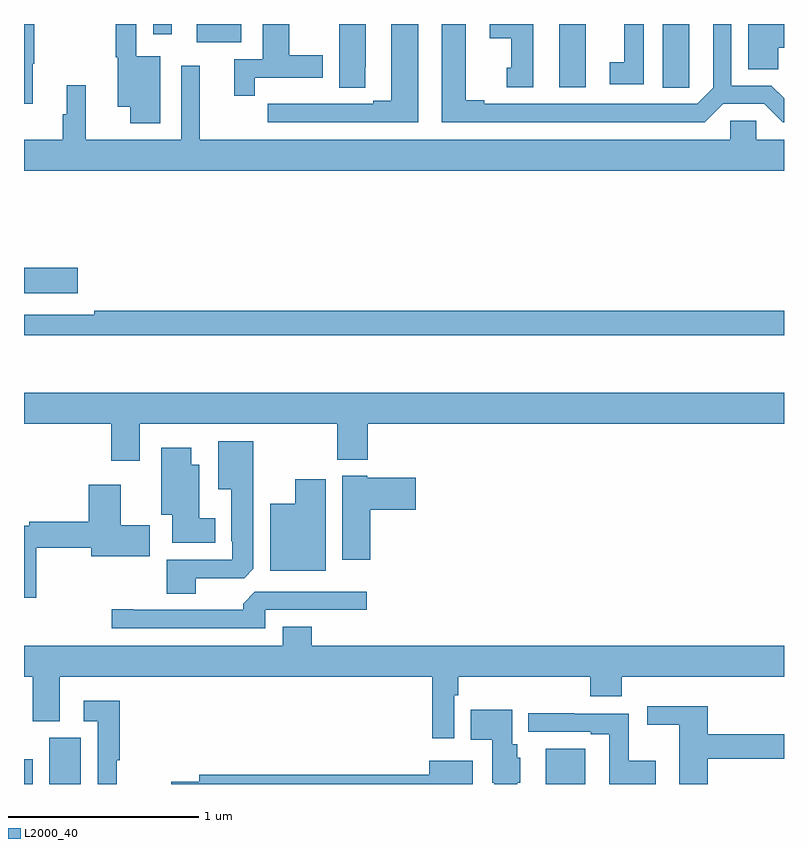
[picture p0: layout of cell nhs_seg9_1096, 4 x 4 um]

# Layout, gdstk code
import gdstk
lib = gdstk.Library(unit=1e-6, precision=1e-09)
def R(c, l, rs):  # rectangles x0, y0, x1, y1
    for r in rs: c.add(gdstk.rectangle(r[:2], r[2:], *l))
def P(c, l, *ps):  # polygons
    for p in ps: c.add(gdstk.Polygon(p, *l))
L2000_40 = (2000, 40)

nhs_seg9_1096 = lib.new_cell('nhs_seg9_1096')
R(nhs_seg9_1096, L2000_40, [(171,1218.5,171.046,1218.631), (171.134,1218.5,171.298,1218.744), (173.747,1218.5,173.953,1218.685), (171,1221.083,171.283,1221.218), (173.816,1222.167,173.956,1222.5), (171.908,1222.403,172.144,1222.5), (171.681,1222.446,171.778,1222.5)])
P(nhs_seg9_1096, L2000_40, [(171.718,1222.33),(171.591,1222.33),(171.591,1222.5),(171.483,1222.5),(171.483,1222.326),(171.494,1222.326),(171.494,1222.064),(171.56,1222.064),(171.56,1221.978),(171.718,1221.978)],
  [(172.797,1222.273),(172.798,1222.273),(172.798,1222.5),(172.658,1222.5),(172.658,1222.165),(172.797,1222.165)],
  [(171.046,1222.292),(171.054,1222.292),(171.054,1222.5),(171,1222.5),(171,1222.08),(171.046,1222.08)],
  [(174.501,1222.273),(174.502,1222.273),(174.502,1222.5),(174.362,1222.5),(174.362,1222.165),(174.501,1222.165)],
  [(173.074,1222.5),(172.934,1222.5),(172.934,1222.095),(172.838,1222.095),(172.838,1222.08),(172.562,1222.08),(172.562,1222.081),(172.396,1222.081),(172.396,1222.08),(172.284,1222.08),(172.284,1221.984),(173.074,1221.984)],
  [(174.679,1222.08),(174.897,1222.08),(174.993,1221.984),(175,1221.984),(175,1222.109),(174.933,1222.176),(174.723,1222.176),(174.723,1222.5),(174.627,1222.5),(174.627,1222.164),(174.543,1222.08),(173.422,1222.08),(173.422,1222.1),(173.326,1222.1),(173.326,1222.5),(173.198,1222.5),(173.198,1221.984),(174.583,1221.984)],
  [(173.68,1222.5),(173.45,1222.5),(173.45,1222.424),(173.564,1222.424),(173.564,1222.269),(173.54,1222.269),(173.54,1222.167),(173.68,1222.167)],
  [(172.214,1222.218),(172.573,1222.218),(172.573,1222.335),(172.396,1222.335),(172.396,1222.5),(172.256,1222.5),(172.256,1222.314),(172.106,1222.314),(172.106,1222.122),(172.214,1222.122)],
  [(174.262,1222.5),(174.158,1222.5),(174.158,1222.298),(174.084,1222.298),(174.084,1222.182),(174.262,1222.182)],
  [(174.97,1222.376),(175,1222.376),(175,1222.5),(174.812,1222.5),(174.812,1222.261),(174.97,1222.261)],
  [(175,1221.892),(174.855,1221.892),(174.855,1221.99),(174.717,1221.99),(174.717,1221.892),(171.926,1221.892),(171.926,1222.279),(171.828,1222.279),(171.828,1221.892),(171.324,1221.892),(171.324,1222.177),(171.224,1222.177),(171.224,1222.026),(171.205,1222.026),(171.205,1221.892),(171,1221.892),(171,1221.728),(175,1221.728)],
  [(175,1220.99),(171.37,1220.99),(171.37,1220.97),(171,1220.97),(171,1220.862),(175,1220.862)],
  [(171.61,1220.396),(172.648,1220.396),(172.648,1220.207),(172.808,1220.207),(172.808,1220.396),(175,1220.396),(175,1220.56),(171,1220.56),(171,1220.396),(171.458,1220.396),(171.458,1220.202),(171.61,1220.202)],
  [(171.904,1219.584),(172.158,1219.584),(172.207,1219.633),(172.207,1220.305),(172.022,1220.305),(172.022,1220.051),(172.091,1220.051),(172.091,1219.777),(172.095,1219.777),(172.095,1219.68),(171.752,1219.68),(171.752,1219.501),(171.904,1219.501)],
  [(172.006,1219.9),(171.922,1219.9),(171.922,1220.179),(171.88,1220.179),(171.88,1220.269),(171.722,1220.269),(171.722,1219.916),(171.779,1219.916),(171.779,1219.769),(172.006,1219.769)],
  [(172.823,1219.943),(173.062,1219.943),(173.062,1220.113),(172.806,1220.113),(172.806,1220.122),(172.676,1220.122),(172.676,1219.68),(172.823,1219.68)],
  [(172.588,1220.104),(172.427,1220.104),(172.427,1219.975),(172.295,1219.975),(172.295,1219.622),(172.588,1219.622)],
  [(171.065,1219.744),(171.353,1219.744),(171.353,1219.7),(171.661,1219.7),(171.661,1219.863),(171.508,1219.863),(171.508,1220.074),(171.341,1220.074),(171.341,1219.88),(171.028,1219.88),(171.028,1219.86),(171,1219.86),(171,1219.479),(171.065,1219.479)],
  [(172.269,1219.416),(172.804,1219.416),(172.804,1219.512),(172.215,1219.512),(172.154,1219.45),(172.154,1219.416),(171.574,1219.416),(171.574,1219.421),(171.462,1219.421),(171.462,1219.32),(172.269,1219.32)],
  [(173.265,1218.968),(173.285,1218.968),(173.285,1219.064),(173.981,1219.064),(173.981,1218.962),(174.146,1218.962),(174.146,1219.064),(175,1219.064),(175,1219.228),(172.514,1219.228),(172.514,1219.327),(172.361,1219.327),(172.361,1219.228),(171,1219.228),(171,1219.064),(171.047,1219.064),(171.047,1218.829),(171.187,1218.829),(171.187,1219.064),(173.149,1219.064),(173.149,1218.741),(173.265,1218.741)],
  [(171.488,1218.624),(171.503,1218.624),(171.503,1218.937),(171.315,1218.937),(171.315,1218.831),(171.387,1218.831),(171.387,1218.5),(171.488,1218.5)],
  [(174.599,1218.634),(175,1218.634),(175,1218.763),(174.599,1218.763),(174.599,1218.91),(174.279,1218.91),(174.279,1218.812),(174.449,1218.812),(174.449,1218.5),(174.599,1218.5)],
  [(173.596,1218.507),(173.611,1218.507),(173.611,1218.639),(173.596,1218.639),(173.596,1218.708),(173.569,1218.708),(173.569,1218.892),(173.35,1218.892),(173.35,1218.734),(173.465,1218.734),(173.465,1218.507),(173.474,1218.507),(173.474,1218.5),(173.596,1218.5)],
  [(174.325,1218.622),(174.182,1218.622),(174.182,1218.87),(173.897,1218.87),(173.897,1218.872),(173.655,1218.872),(173.655,1218.774),(173.984,1218.774),(173.984,1218.762),(174.081,1218.762),(174.081,1218.5),(174.325,1218.5)],
  [(173.362,1218.622),(173.132,1218.622),(173.132,1218.548),(171.923,1218.548),(171.923,1218.512),(171.774,1218.512),(171.774,1218.5),(173.362,1218.5)])

lib.write_gds('nhs_seg9_1096.gds')
